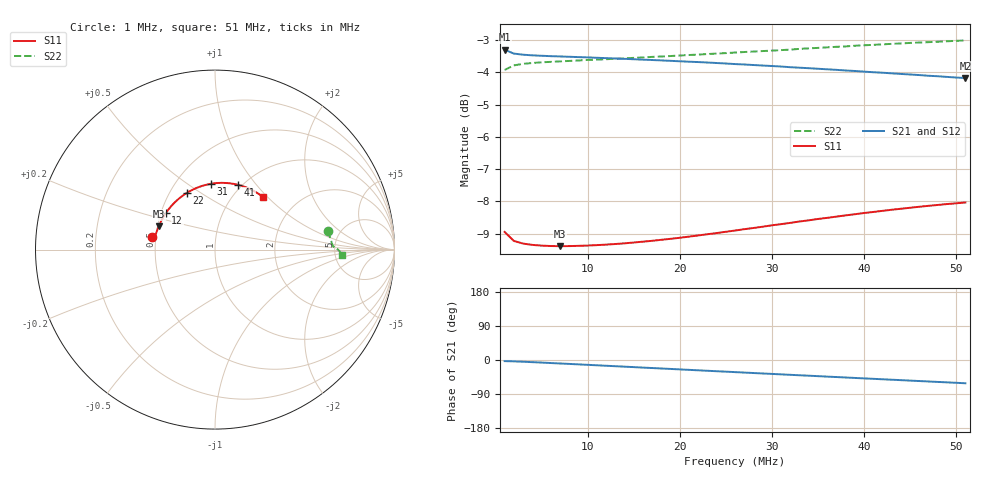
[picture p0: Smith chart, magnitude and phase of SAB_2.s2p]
# MHz S RI R 50
! S-Parameters data
! Freq  reS11  imS11  reS21  imS21  reS12  imS12  reS22  imS22
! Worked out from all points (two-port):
!   51 points, 1 MHz to 51 MHz, reference 50 ohm
!   highest |S21| = -3.29 dB at 1 MHz (marker M1); lowest = -4.2 dB at 51 MHz (marker M2)
!   |S21| within 3 dB of the highest: start of sweep to end of sweep
!   lowest |S11| = -9.4 dB at 7 MHz (marker M3), VSWR 2.03, Z = 25.4 + j7.46 ohm
!   |S11| at or under -10 dB: nowhere
!   |S22| runs from -3.9 to -3.0 dB; largest |S21 - S12| = 0.0021
!   S11 on the Smith chart (normalised r, x): 1 MHz: 0.48, +0.07; 12 MHz: 0.53, +0.24; 22 MHz: 0.61, +0.44; 31 MHz: 0.73, +0.62; 41 MHz: 0.96, +0.81; 51 MHz: 1.35, +0.94
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1  -0.3504 0.0676  0.6834 -0.035  0.684 -0.0347  0.6282 0.1027
2  -0.3396 0.0639  0.6737 -0.0421  0.6746 -0.042  0.6446 0.0574
3  -0.3344 0.0733  0.6702 -0.0534  0.671 -0.0533  0.6494 0.0411
4  -0.3297 0.0863  0.6675 -0.0661  0.6686 -0.0661  0.6519 0.033
5  -0.3247 0.1004  0.6651 -0.0792  0.6661 -0.0792  0.6536 0.0279
7  -0.3133 0.1299  0.6597 -0.1063  0.6606 -0.1062  0.6561 0.0223
10  -0.292 0.1741  0.6496 -0.1465  0.6505 -0.1469  0.6596 0.018
12  -0.2748 0.202  0.6411 -0.1736  0.642 -0.1738  0.6613 0.0162
15  -0.2449 0.2411  0.6264 -0.2127  0.6276 -0.213  0.6646 0.0144
18  -0.2104 0.2759  0.609 -0.251  0.6105 -0.2509  0.6679 0.0123
22  -0.1585 0.3147  0.5825 -0.2993  0.5837 -0.2994  0.6725 0.00952
24  -0.1303 0.3307  0.5675 -0.3224  0.5688 -0.3226  0.675 0.00793
26  -0.1012 0.3441  0.5515 -0.3444  0.553 -0.3445  0.6775 0.00632
28  -0.0712 0.3549  0.5349 -0.3658  0.5364 -0.3658  0.6799 0.00458
31  -0.0249 0.3661  0.5084 -0.3961  0.5099 -0.3965  0.6834 0.00131
33  0.00627 0.3704  0.4896 -0.4149  0.4913 -0.4155  0.6864 -0.000946
35  0.0378 0.3719  0.4703 -0.4332  0.4719 -0.4339  0.6888 -0.0036
38  0.0845 0.3691  0.4402 -0.4583  0.4417 -0.4591  0.6925 -0.00772
41  0.1302 0.3605  0.4086 -0.4815  0.4102 -0.4824  0.6963 -0.0127
43  0.1598 0.3517  0.3871 -0.4958  0.3885 -0.4969  0.6986 -0.0162
47  0.2159 0.3269  0.3424 -0.5211  0.3438 -0.5227  0.7028 -0.0241
51  0.2667 0.2934  0.2965 -0.5428  0.2976 -0.5446  0.7067 -0.0327
